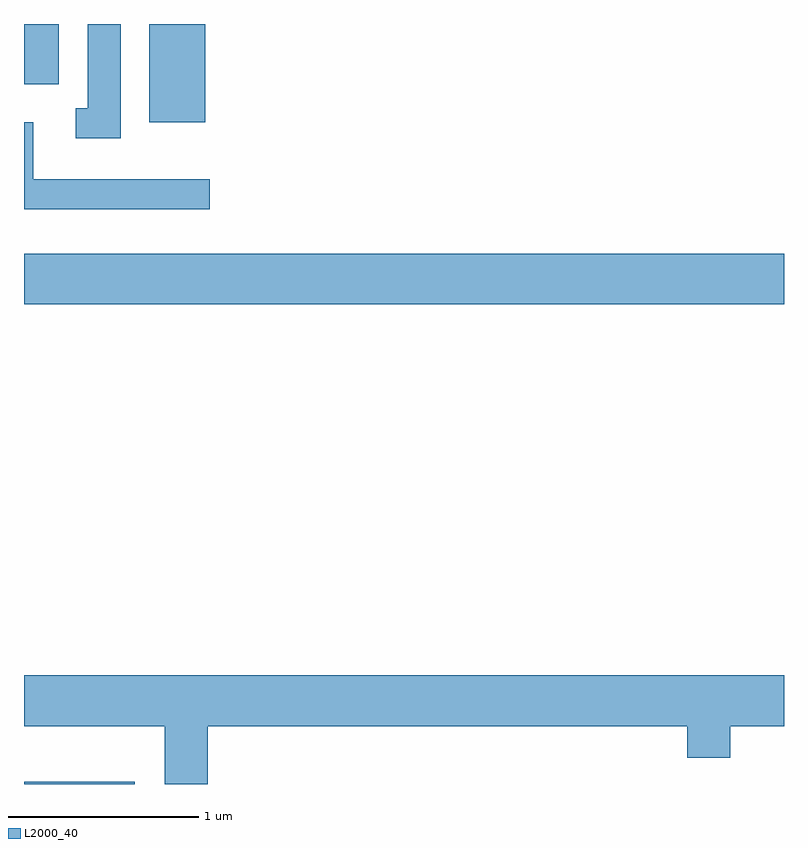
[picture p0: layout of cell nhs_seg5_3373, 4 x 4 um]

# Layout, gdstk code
import gdstk
lib = gdstk.Library(unit=1e-6, precision=1e-09)
def R(c, l, rs):  # rectangles x0, y0, x1, y1
    for r in rs: c.add(gdstk.rectangle(r[:2], r[2:], *l))
def P(c, l, *ps):  # polygons
    for p in ps: c.add(gdstk.Polygon(p, *l))
L2000_40 = (2000, 40)

nhs_seg5_3373 = lib.new_cell('nhs_seg5_3373')
R(nhs_seg5_3373, L2000_40, [(285.611,1432.072,286.194,1432.084), (285.611,1434.596,289.611,1434.864), (286.271,1435.556,286.564,1436.072), (285.611,1435.756,285.794,1436.072)])
P(nhs_seg5_3373, L2000_40, [(286.119,1436.072),(285.946,1436.072),(285.946,1435.629),(285.883,1435.629),(285.883,1435.471),(286.119,1435.471)],
  [(286.588,1435.254),(285.659,1435.254),(285.659,1435.554),(285.611,1435.554),(285.611,1435.096),(286.588,1435.096)],
  [(286.579,1432.376),(289.101,1432.376),(289.101,1432.211),(289.329,1432.211),(289.329,1432.376),(289.611,1432.376),(289.611,1432.644),(285.611,1432.644),(285.611,1432.376),(286.351,1432.376),(286.351,1432.072),(286.579,1432.072)])

lib.write_gds('nhs_seg5_3373.gds')
